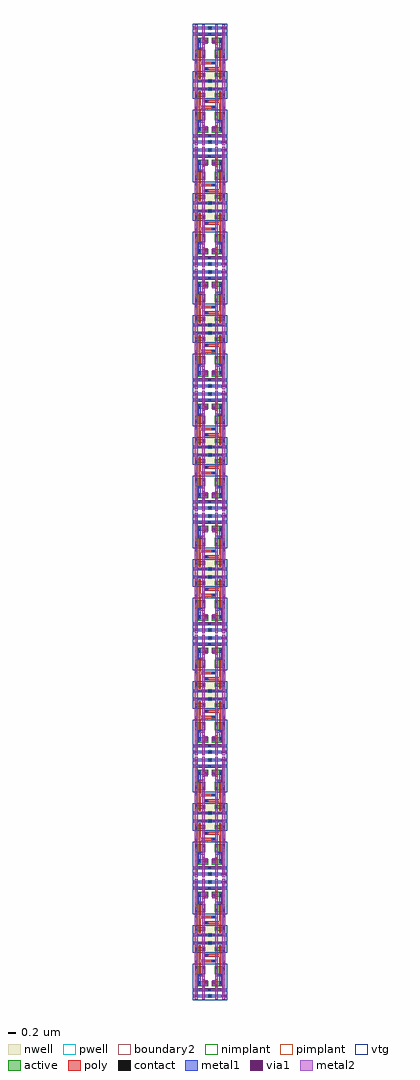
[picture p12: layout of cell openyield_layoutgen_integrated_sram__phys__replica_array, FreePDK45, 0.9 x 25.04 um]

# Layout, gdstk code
import gdstk
lib = gdstk.Library(unit=1e-6, precision=1e-09)
def R(c, l, rs):  # rectangles x0, y0, x1, y1
    for r in rs: c.add(gdstk.rectangle(r[:2], r[2:], *l))
active = (1, 0)
pwell = (2, 0)
nwell = (3, 0)
nimplant = (4, 0)
pimplant = (5, 0)
vtg = (6, 0)
poly = (9, 0)
contact = (10, 0)
metal1 = (11, 0)
via1 = (12, 0)
metal2 = (13, 0)
boundary2 = (239, 0)

replica_cell_1rw = lib.new_cell('replica_cell_1rw')
R(replica_cell_1rw, active, [(0.302,-0.045,0.392,0.045), (0.302,-0.045,0.392,0.045), (0.045,0.247,0.12,0.382), (0.045,0.247,0.12,0.382), (0.045,0.247,0.305,0.382), (0.23,0.247,0.305,0.382), (0.23,0.247,0.305,0.382), (0.4,0.247,0.475,0.382), (0.4,0.247,0.475,0.382), (0.4,0.247,0.66,0.382), (0.585,0.247,0.66,0.382), (0.585,0.247,0.66,0.382), (0.045,0.307,0.12,0.382), (0.23,0.307,0.305,0.382), (0.4,0.307,0.475,0.382), (0.585,0.307,0.66,0.382), (-0.04,0.567,0.225,0.772), (-0.035,0.567,0.04,0.772), (-0.035,0.567,0.04,0.772), (0.15,0.567,0.225,0.772), (0.15,0.567,0.225,0.772), (0.48,0.567,0.555,0.772), (0.48,0.567,0.555,0.772), (0.48,0.567,0.745,0.772), (0.665,0.567,0.74,0.772), (0.665,0.567,0.74,0.772), (-0.035,0.697,0.04,0.772), (0.15,0.697,0.225,0.772), (0.48,0.697,0.555,0.772), (0.665,0.697,0.74,0.772), (-0.04,1.163,0.225,1.252), (-0.035,1.163,0.04,1.238), (-0.035,1.163,0.04,1.252), (-0.035,1.163,0.04,1.252), (0.15,1.163,0.225,1.238), (0.15,1.163,0.225,1.252), (0.15,1.163,0.225,1.252), (0.48,1.163,0.555,1.238), (0.48,1.163,0.555,1.252), (0.48,1.163,0.555,1.252), (0.48,1.163,0.745,1.252), (0.665,1.163,0.74,1.238), (0.665,1.163,0.74,1.252), (0.665,1.163,0.74,1.252), (0.302,1.32,0.392,1.41), (0.302,1.32,0.392,1.41)])
R(replica_cell_1rw, pwell, [(-0.095,-0.1,0.8,0.827), (0.247,-0.1,0.447,0.1), (0.247,-0.08,0.447,0.12), (-0.01,0.192,0.36,0.437), (0.345,0.192,0.715,0.437), (-0.09,0.512,0.28,0.827), (0.425,0.512,0.795,0.827)])
R(replica_cell_1rw, nwell, [(-0.095,1.107,0.8,1.465), (-0.09,1.107,0.28,1.308), (0.425,1.107,0.795,1.308), (0.247,1.265,0.447,1.465), (0.247,1.265,0.447,1.465)])
R(replica_cell_1rw, nimplant, [(0.045,0.247,0.305,0.382), (0.4,0.247,0.66,0.382), (-0.035,0.567,0.225,0.772), (0.48,0.567,0.74,0.772), (0.302,1.32,0.392,1.41), (0.302,1.32,0.392,1.41)])
R(replica_cell_1rw, pimplant, [(0.302,-0.045,0.392,0.045), (-0.035,1.163,0.225,1.252), (0.48,1.163,0.74,1.252)])
R(replica_cell_1rw, vtg, [(-0.09,-0.1,0.795,0.827), (-0.01,0.192,0.36,0.437), (0.345,0.192,0.715,0.437), (-0.09,0.512,0.28,0.827), (0.425,0.512,0.795,0.827), (-0.09,1.107,0.795,1.465), (-0.09,1.107,0.28,1.308), (0.425,1.107,0.795,1.308)])
R(replica_cell_1rw, poly, [(0.07,0.122,0.635,0.198), (0.297,0.122,0.372,0.198), (0.15,0.192,0.2,0.437), (0.15,0.192,0.2,0.247), (0.505,0.192,0.555,0.437), (0.505,0.192,0.555,0.247), (0.15,0.382,0.2,0.437), (0.505,0.382,0.555,0.437), (0.07,0.512,0.12,0.567), (0.07,0.512,0.12,0.827), (0.585,0.512,0.635,0.567), (0.585,0.512,0.635,0.827), (0.07,0.772,0.12,0.827), (0.585,0.772,0.635,0.827), (0.07,0.827,0.12,1.107), (0.07,0.827,0.12,1.107), (0.585,0.827,0.635,1.107), (0.585,0.827,0.635,1.107), (0.07,0.863,0.503,0.937), (0.427,0.863,0.503,0.937), (0.427,0.863,0.503,0.937), (0.203,1.012,0.635,1.088), (0.203,1.012,0.278,1.088), (0.203,1.012,0.278,1.088), (0.07,1.107,0.12,1.308), (0.07,1.107,0.12,1.163), (0.585,1.107,0.635,1.308), (0.585,1.107,0.635,1.163), (0.07,1.252,0.12,1.308), (0.585,1.252,0.635,1.308)])
R(replica_cell_1rw, contact, [(0.315,-0.033,0.38,0.033), (0.302,0.127,0.367,0.192), (0.05,0.312,0.115,0.377), (0.235,0.312,0.3,0.377), (0.405,0.312,0.47,0.377), (0.59,0.312,0.655,0.377), (-0.033,0.702,0.033,0.768), (0.155,0.702,0.22,0.768), (0.485,0.702,0.55,0.768), (0.672,0.702,0.738,0.768), (0.432,0.868,0.497,0.932), (0.432,0.868,0.497,0.932), (0.208,1.018,0.273,1.083), (0.208,1.018,0.273,1.083), (-0.033,1.167,0.033,1.232), (0.155,1.167,0.22,1.232), (0.485,1.167,0.55,1.232), (0.672,1.167,0.738,1.232), (0.315,1.332,0.38,1.397)])
R(replica_cell_1rw, metal1, [(-0.09,-0.033,0.795,0.033), (0.638,-0.033,0.772,0.033), (0.638,-0.033,0.772,0.033), (0.638,-0.033,0.772,0.033), (0.638,-0.033,0.772,0.033), (-0.09,0.127,0.795,0.192), (0.268,0.127,0.403,0.192), (-0.085,0.13,-0.033,0.192), (0.62,0.13,0.672,0.192), (0.05,0.278,0.12,0.567), (0.05,0.278,0.115,0.413), (0.222,0.278,0.288,0.413), (0.235,0.278,0.3,0.413), (0.405,0.278,0.47,0.413), (0.417,0.278,0.482,0.413), (0.59,0.278,0.66,0.567), (0.59,0.278,0.655,0.413), (0.05,0.503,0.22,0.567), (0.155,0.503,0.22,1.242), (0.485,0.503,0.55,1.133), (0.485,0.503,0.66,0.567), (-0.035,0.667,0.035,0.802), (-0.035,0.667,0.035,0.802), (-0.03,0.667,0.035,0.802), (0.155,0.667,0.22,0.802), (0.485,0.667,0.55,0.802), (0.67,0.667,0.74,0.802), (0.67,0.667,0.74,0.802), (0.67,0.667,0.74,0.802), (0.67,0.667,0.74,0.802), (0.67,0.667,0.74,0.802), (0.67,0.667,0.74,0.802), (0.67,0.667,0.735,0.802), (-0.033,0.77,0.033,0.905), (-0.033,0.77,0.033,0.905), (-0.033,0.77,0.033,0.905), (-0.033,0.77,0.033,0.905), (-0.033,0.77,0.033,0.905), (-0.033,0.77,0.033,0.905), (0.672,0.77,0.738,0.905), (0.672,0.77,0.738,0.905), (0.672,0.77,0.738,0.905), (0.672,0.77,0.738,0.905), (0.672,0.77,0.738,0.905), (0.672,0.77,0.738,0.905), (0.672,0.77,0.738,0.905), (0.672,0.77,0.738,0.905), (0.672,0.77,0.738,0.905), (0.672,0.77,0.738,0.905), (0.672,0.77,0.738,0.905), (0.672,0.77,0.738,0.905), (0.672,0.77,0.738,0.905), (0.672,0.77,0.738,0.905), (0.672,0.77,0.738,0.905), (0.672,0.77,0.738,0.905), (0.672,0.77,0.738,0.905), (0.672,0.77,0.738,0.905), (0.672,0.77,0.738,0.905), (0.672,0.77,0.738,0.905), (0.672,0.77,0.738,0.905), (0.672,0.77,0.738,0.905), (0.672,0.77,0.738,0.905), (0.672,0.77,0.738,0.905), (0.398,0.868,0.532,0.932), (0.398,0.868,0.532,0.932), (0.173,1.018,0.307,1.083), (0.173,1.018,0.307,1.083), (-0.035,1.133,0.035,1.332), (-0.03,1.133,0.035,1.268), (0.155,1.133,0.22,1.268), (0.485,1.133,0.55,1.345), (0.67,1.133,0.74,1.332), (0.67,1.133,0.74,1.332), (0.67,1.133,0.735,1.268), (-0.09,1.332,0.795,1.397)])
R(replica_cell_1rw, via1, [(-0.033,-0.033,0.033,0.033), (-0.033,-0.033,0.033,0.033), (0.672,-0.033,0.738,0.033), (0.672,-0.033,0.738,0.033), (0.672,-0.033,0.738,0.033), (0.672,-0.033,0.738,0.033), (0.222,0.312,0.288,0.377), (0.417,0.312,0.482,0.377), (-0.033,0.805,0.033,0.87), (-0.033,0.805,0.033,0.87), (-0.033,0.805,0.033,0.87), (-0.033,0.805,0.033,0.87), (-0.033,0.805,0.033,0.87), (-0.033,0.805,0.033,0.87), (0.672,0.805,0.738,0.87), (0.672,0.805,0.738,0.87), (0.672,0.805,0.738,0.87), (0.672,0.805,0.738,0.87), (0.672,0.805,0.738,0.87), (0.672,0.805,0.738,0.87), (0.672,0.805,0.738,0.87), (0.672,0.805,0.738,0.87), (0.672,0.805,0.738,0.87), (0.672,0.805,0.738,0.87), (0.672,0.805,0.738,0.87), (0.672,0.805,0.738,0.87), (0.672,0.805,0.738,0.87), (0.672,0.805,0.738,0.87), (0.672,0.805,0.738,0.87), (0.672,0.805,0.738,0.87), (0.672,0.805,0.738,0.87), (0.672,0.805,0.738,0.87), (0.672,0.805,0.738,0.87), (0.672,0.805,0.738,0.87), (0.672,0.805,0.738,0.87), (0.672,0.805,0.738,0.87), (0.672,0.805,0.738,0.87), (0.672,0.805,0.738,0.87)])
R(replica_cell_1rw, metal2, [(-0.035,-0.08,0.035,1.465), (0.15,-0.08,0.22,1.465), (0.485,-0.08,0.555,1.465), (0.67,-0.08,0.74,1.465), (0.638,-0.035,0.772,0.035), (0.638,-0.035,0.772,0.035), (0.638,-0.035,0.772,0.035), (0.638,-0.035,0.772,0.035), (0.492,-0.033,0.55,0.027), (-0.03,-0.03,0.03,0.027), (0.157,-0.025,0.212,0.027), (0.675,-0.025,0.735,0.033), (0.67,-0.013,0.74,1.397), (0.22,0.278,0.29,0.413), (0.415,0.278,0.485,0.413), (-0.035,0.77,0.035,0.905), (-0.035,0.77,0.035,0.905), (-0.035,0.77,0.035,0.905), (-0.035,0.77,0.035,0.905), (-0.035,0.77,0.035,0.905), (-0.035,0.77,0.035,0.905), (0.67,0.77,0.74,0.905), (0.67,0.77,0.74,0.905), (0.67,0.77,0.74,0.905), (0.67,0.77,0.74,0.905), (0.67,0.77,0.74,0.905), (0.67,0.77,0.74,0.905), (0.67,0.77,0.74,0.905), (0.67,0.77,0.74,0.905), (0.67,0.77,0.74,0.905), (0.67,0.77,0.74,0.905), (0.67,0.77,0.74,0.905), (0.67,0.77,0.74,0.905), (0.67,0.77,0.74,0.905), (0.67,0.77,0.74,0.905), (0.67,0.77,0.74,0.905), (0.67,0.77,0.74,0.905), (0.67,0.77,0.74,0.905), (0.67,0.77,0.74,0.905), (0.67,0.77,0.74,0.905), (0.67,0.77,0.74,0.905), (0.67,0.77,0.74,0.905), (0.67,0.77,0.74,0.905), (0.67,0.77,0.74,0.905), (0.67,0.77,0.74,0.905)])
R(replica_cell_1rw, boundary2, [(0,0.02,0.705,1.365)])
replica_cell_1rw.add(gdstk.Label('gnd', (0.345,0), layer=11, texttype=0))
replica_cell_1rw.add(gdstk.Label('vdd', (0.35,1.365), layer=11, texttype=0))
replica_cell_1rw.add(gdstk.Label('wl', (-0.05,0.168), layer=11, texttype=0))
replica_cell_1rw.add(gdstk.Label('bl', (0.19,0.002), layer=13, texttype=0))
replica_cell_1rw.add(gdstk.Label('br', (0.52,0.002), layer=13, texttype=0))

openyield_layoutgen_inte = lib.new_cell('openyield_layoutgen_integrated_sram__phys__replica_array')
openyield_layoutgen_inte.add(gdstk.Reference(replica_cell_1rw, (40.83,20.148)))
openyield_layoutgen_inte.add(gdstk.Reference(replica_cell_1rw, (40.83,23.077), x_reflection=True))
openyield_layoutgen_inte.add(gdstk.Reference(replica_cell_1rw, (40.83,23.277)))
openyield_layoutgen_inte.add(gdstk.Reference(replica_cell_1rw, (40.83,26.207), x_reflection=True))
openyield_layoutgen_inte.add(gdstk.Reference(replica_cell_1rw, (40.83,26.407)))
openyield_layoutgen_inte.add(gdstk.Reference(replica_cell_1rw, (40.83,29.338), x_reflection=True))
openyield_layoutgen_inte.add(gdstk.Reference(replica_cell_1rw, (40.83,29.537)))
openyield_layoutgen_inte.add(gdstk.Reference(replica_cell_1rw, (40.83,32.467), x_reflection=True))
openyield_layoutgen_inte.add(gdstk.Reference(replica_cell_1rw, (40.83,32.668)))
openyield_layoutgen_inte.add(gdstk.Reference(replica_cell_1rw, (40.83,35.598), x_reflection=True))
openyield_layoutgen_inte.add(gdstk.Reference(replica_cell_1rw, (40.83,35.797)))
openyield_layoutgen_inte.add(gdstk.Reference(replica_cell_1rw, (40.83,38.727), x_reflection=True))
openyield_layoutgen_inte.add(gdstk.Reference(replica_cell_1rw, (40.83,38.928)))
openyield_layoutgen_inte.add(gdstk.Reference(replica_cell_1rw, (40.83,41.858), x_reflection=True))
openyield_layoutgen_inte.add(gdstk.Reference(replica_cell_1rw, (40.83,42.057)))
openyield_layoutgen_inte.add(gdstk.Reference(replica_cell_1rw, (40.83,44.988), x_reflection=True))

lib.write_gds('openyield_layoutgen_integrated_sram__phys__replica_array.gds')
